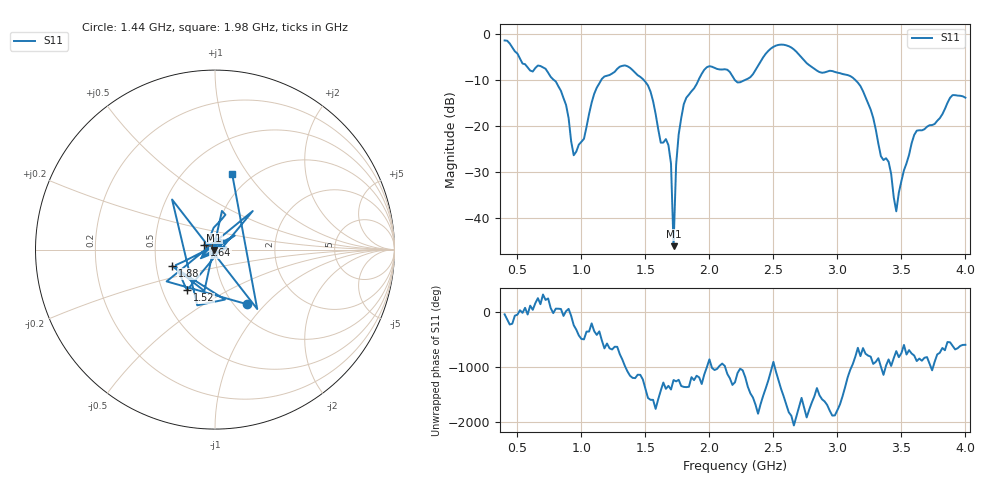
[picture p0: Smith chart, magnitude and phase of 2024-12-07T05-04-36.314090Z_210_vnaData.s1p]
!Created with skrf (http://scikit-rf.org).
# Hz S RI R 50.0
!freq ReS11 ImS11
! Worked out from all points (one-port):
!   181 points, 400 MHz to 4 GHz, reference 50 ohm
!   lowest |S11| = -46.0 dB at 1.72 GHz (marker M1), VSWR 1.01, Z = 49.5 - j0.196 ohm
!   |S11| at or under -10 dB: 783.2 MHz to 1.156 GHz (372.5 MHz wide, 38.4 % of centre); 1.486 GHz to 1.916 GHz (430.1 MHz wide, 25.3 % of centre); 3.138 GHz to end of sweep (the widest 3 of 4)
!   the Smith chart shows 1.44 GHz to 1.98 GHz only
!   S11 on the Smith chart (normalised r, x): 1.44 GHz: 1.14, -0.80; 1.52 GHz: 0.67, -0.33; 1.64 GHz: 0.88, +0.05; 1.88 GHz: 0.61, -0.12; 1.98 GHz: 0.82, +0.85
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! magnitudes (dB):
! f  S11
! 400 MHz  -1.5
! 720 MHz  -7.6
! 860 MHz  -13.9
! 940 MHz  -26.3
! 1.02 GHz  -22.8
! 1.12 GHz  -11.7
! 1.3 GHz  -7.2
! 1.44 GHz  -9.0
! 1.52 GHz  -11.2
! 1.64 GHz  -23.6
! 1.7 GHz  -28.1
! 1.72 GHz  -46.0
! 1.74 GHz  -28.4
! 1.76 GHz  -21.8
! 1.8 GHz  -15.3
! 1.88 GHz  -11.9
! 1.98 GHz  -7.3
! 2.2 GHz  -10.1
! 2.5 GHz  -2.9
! 2.66 GHz  -3.4
! 3.1 GHz  -9.2
! 3.2 GHz  -12.5
! 3.34 GHz  -26.5
! 3.4 GHz  -27.7
! 3.46 GHz  -38.5
! 3.56 GHz  -26.2
! 3.62 GHz  -21.0
! 4 GHz  -13.9
